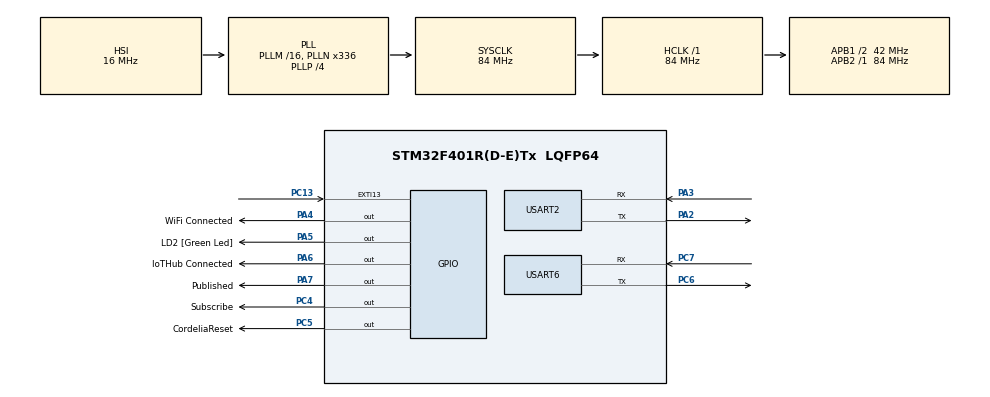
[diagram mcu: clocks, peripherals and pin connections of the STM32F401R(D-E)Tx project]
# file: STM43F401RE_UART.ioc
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Mcu.Family=STM32F4
Mcu.Name=STM32F401R(D-E)Tx
Mcu.Package=LQFP64
Mcu.UserConstants=T4_PRE,7199;T4_CNT,4999
NVIC.EXTI15_10_IRQn=true\:0\:0\:false\:false\:true\:true\:true\:true
NVIC.PriorityGroup=NVIC_PRIORITYGROUP_0
NVIC.TIM4_IRQn=true\:0\:0\:false\:false\:true\:true\:true\:true
NVIC.USART2_IRQn=true\:0\:0\:false\:false\:true\:true\:true\:true
NVIC.USART6_IRQn=true\:0\:0\:false\:false\:true\:true\:true\:true
PA13.GPIO_Label=TMS
PA13.Mode=Serial_Wire
PA13.Signal=SYS_JTMS-SWDIO
PA14.GPIO_Label=TCK
PA14.Mode=Serial_Wire
PA14.Signal=SYS_JTCK-SWCLK
PA2.GPIO_Mode=GPIO_MODE_AF_PP
PA2.GPIO_ModeDefaultPP=GPIO_MODE_AF_PP
PA2.GPIO_PuPd=GPIO_NOPULL
PA2.GPIO_Speed=GPIO_SPEED_FREQ_VERY_HIGH
PA2.Mode=Asynchronous
PA2.Signal=USART2_TX
PA3.GPIO_Mode=GPIO_MODE_AF_PP
PA3.GPIO_ModeDefaultPP=GPIO_MODE_AF_PP
PA3.GPIO_PuPd=GPIO_NOPULL
PA3.GPIO_Speed=GPIO_SPEED_FREQ_VERY_HIGH
PA3.Mode=Asynchronous
PA3.Signal=USART2_RX
PA4.GPIO_Label=WiFi Connected
PA4.Signal=GPIO_Output
PA5.GPIO_Label=LD2 [Green Led]
PA5.GPIO_Mode=GPIO_MODE_OUTPUT_PP
PA5.GPIO_PuPd=GPIO_NOPULL
PA5.GPIO_Speed=GPIO_SPEED_FREQ_LOW
PA5.Signal=GPIO_Output
PA6.GPIO_Label=IoTHub Connected
PA6.Signal=GPIO_Output
PA7.GPIO_Label=Published
PA7.Signal=GPIO_Output
PB3.GPIO_Label=SWO
PB3.Signal=SYS_JTDO-SWO
PC13-ANTI_TAMP.Signal=GPXTI13
PC14-OSC32_IN.Mode=LSE-External-Oscillator
PC14-OSC32_IN.Signal=RCC_OSC32_IN
PC15-OSC32_OUT.Mode=LSE-External-Oscillator
PC15-OSC32_OUT.Signal=RCC_OSC32_OUT
PC4.GPIO_Label=Subscribe
PC4.Signal=GPIO_Output
PC5.GPIO_Label=CordeliaReset
PC5.Signal=GPIO_Output
PC6.Mode=Asynchronous
PC6.Signal=USART6_TX
PC7.Mode=Asynchronous
PC7.Signal=USART6_RX
PH0\ -\ OSC_IN.Mode=HSE-External-Clock-Source
PH0\ -\ OSC_IN.Signal=RCC_OSC_IN
PH1\ -\ OSC_OUT.Mode=HSE-External-Clock-Source
PH1\ -\ OSC_OUT.Signal=RCC_OSC_OUT
ProjectManager.HeapSize=0x200
ProjectManager.StackSize=0x400
ProjectManager.TargetToolchain=STM32CubeIDE
RCC.48MHZClocksFreq_Value=48000000
RCC.AHBFreq_Value=84000000
RCC.APB1CLKDivider=RCC_HCLK_DIV2
RCC.APB1Freq_Value=42000000
RCC.APB1TimFreq_Value=84000000
RCC.APB2Freq_Value=84000000
RCC.APB2TimFreq_Value=84000000
RCC.CortexFreq_Value=84000000
RCC.HCLKFreq_Value=84000000
RCC.HSE_VALUE=8000000
RCC.HSI_VALUE=16000000
RCC.PLLN=336
RCC.PLLP=RCC_PLLP_DIV4
RCC.PLLQ=7
RCC.SYSCLKFreq_VALUE=84000000
RCC.SYSCLKSource=RCC_SYSCLKSOURCE_PLLCLK
RCC.VCOOutputFreq_Value=336000000
TIM4.Period=T4_CNT
TIM4.Prescaler=T4_PRE
USART2.VirtualMode=VM_ASYNC
USART6.VirtualMode=VM_ASYNC
VP_TIM4_VS_ClockSourceINT.Mode=Internal
board=NUCLEO-F401RE

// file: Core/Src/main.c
/* USER CODE BEGIN Header */
/**
  ******************************************************************************
  * @file           : main.c
  * @brief          : Main program body
  ******************************************************************************
  * @attention
  *
  * Copyright (c) 2024 STMicroelectronics.
  * All rights reserved.
  *
  * This software is licensed under terms that can be found in the LICENSE file
  * in the root directory of this software component.
  * If no LICENSE file comes with this software, it is provided AS-IS.
  *
  ******************************************************************************
  */
/* USER CODE END Header */
#include "main.h"

/* USER CODE BEGIN Includes */
#include "string.h"
#include "stdio.h"
#include "CQ_AT_Cmds.h"
#include "CQ_Led.h"
#include "CQ_Debug.h"

/* USER CODE END Includes */

TIM_HandleTypeDef htim4;

UART_HandleTypeDef huart2;
UART_HandleTypeDef huart6;

/* USER CODE BEGIN PV */
#define PUTCHAR_PROTOTYPE int __io_putchar(int ch) // redirect Printf to USB port
UART_HandleTypeDef huart2;
UART_HandleTypeDef huart6;

uint8_t rx_data;
char tx_buffer[BUFFERSIZE];
TIM_HandleTypeDef htim4;
uint8_t rx_data; // RAW UART data is put here
char rx_buffer[BUFFERSIZE];
int rx_indx;
/* USER CODE END PV */

void SystemClock_Config(void);
static void MX_GPIO_Init(void);
static void MX_USART2_UART_Init(void);
static void MX_USART6_UART_Init(void);
static void MX_TIM4_Init(void);

/* USER CODE BEGIN 0 */

// Override the weak call back function
void HAL_TIM_PeriodElapsedCallback(TIM_HandleTypeDef *htim) {
      if (htim->Instance == TIM4) {
    	  // Handle PUBLED
    	          if (ledPubControl.state == FLASHLED) {
    	              HAL_GPIO_TogglePin(Published_GPIO_Port, Published_Pin);
    	              ledPubControl.counter++;
    	              if (ledPubControl.counter >= MAX_CYCLES) {
    	            	  ledPubControl.state = IDLELED;
    	            	  HAL_GPIO_WritePin(Published_GPIO_Port, Published_Pin, GPIO_PIN_RESET);  // Turn off PUB LED
    	              }
    	          }

    	          // Handle SUBLED
    	          if (ledSubControl.state == FLASHLED) {
    	              HAL_GPIO_TogglePin(Subscribe_GPIO_Port, Subscribe_Pin);
    	              ledSubControl.counter++;
    	              if (ledSubControl.counter >= MAX_CYCLES) {
    	            	  ledSubControl.state = IDLELED;
    	            	  HAL_GPIO_WritePin(Subscribe_GPIO_Port, Subscribe_Pin, GPIO_PIN_RESET);  // Turn off SUB LED
    	              }
    	          }
      }
}

/* USER CODE END 0 */

int main(void)
{

  /* MCU Configuration--------------------------------------------------------*/

  /* Reset of all peripherals, Initializes the Flash interface and the Systick. */
  HAL_Init();

  /* Configure the system clock */
  SystemClock_Config();

  /* Initialize all configured peripherals */
  MX_GPIO_Init();
  MX_USART2_UART_Init();
  MX_USART6_UART_Init();
  MX_TIM4_Init();
  /* USER CODE BEGIN 2 */
  HAL_UART_Receive_IT(&huart6, &rx_data, 1);

  // Fire up the timer used to toggle the LEDs
  HAL_TIM_Base_Start_IT(&htim4);

  /* USER CODE END 2 */

  /* Infinite loop */
  /* USER CODE BEGIN WHILE */

  // issue a HW reset of Cordelia at STM boot to ensure a known start up place.
  	HAL_GPIO_WritePin(CordeliaReset_GPIO_Port, CordeliaReset_Pin, GPIO_PIN_RESET);
  	HAL_Delay(200); //200ms should be enough
  	HAL_GPIO_WritePin(CordeliaReset_GPIO_Port, CordeliaReset_Pin, GPIO_PIN_SET);

  	HAL_Delay(200); // short start up delay to allow Cordelia to boot

  	DEBUG_STARTUP("**************************************************\r\n");
  	DEBUG_STARTUP("*                                                *\r\n");
  	DEBUG_STARTUP("* Welcome to Crypto Quantique's Secure           *\r\n");
  	DEBUG_STARTUP("* Wurth Cordelia-I & STM32 AT Host example       *\r\n");
  	DEBUG_STARTUP("*                                                *\r\n");
  	DEBUG_STARTUP("* Version 1.0.0, (c) Crypto Quantique Aug 2024   *\r\n");
  	DEBUG_STARTUP("*                                                *\r\n");
  	DEBUG_STARTUP("**************************************************\r\n");

	while (1)
  {

    /* USER CODE END WHILE */

  }
}

void SystemClock_Config(void)
{
  RCC_OscInitTypeDef RCC_OscInitStruct = {0};
  RCC_ClkInitTypeDef RCC_ClkInitStruct = {0};

  /** Configure the main internal regulator output voltage
  */
  __HAL_RCC_PWR_CLK_ENABLE();
  __HAL_PWR_VOLTAGESCALING_CONFIG(PWR_REGULATOR_VOLTAGE_SCALE2);

  /** Initializes the RCC Oscillators according to the specified parameters
  * in the RCC_OscInitTypeDef structure.
  */
  RCC_OscInitStruct.OscillatorType = RCC_OSCILLATORTYPE_HSI;
  RCC_OscInitStruct.HSIState = RCC_HSI_ON;
  RCC_OscInitStruct.HSICalibrationValue = RCC_HSICALIBRATION_DEFAULT;
  RCC_OscInitStruct.PLL.PLLState = RCC_PLL_ON;
  RCC_OscInitStruct.PLL.PLLSource = RCC_PLLSOURCE_HSI;
  RCC_OscInitStruct.PLL.PLLM = 16;
  RCC_OscInitStruct.PLL.PLLN = 336;
  RCC_OscInitStruct.PLL.PLLP = RCC_PLLP_DIV4;
  RCC_OscInitStruct.PLL.PLLQ = 7;
  if (HAL_RCC_OscConfig(&RCC_OscInitStruct) != HAL_OK)
  {
    Error_Handler();
  }

  /** Initializes the CPU, AHB and APB buses clocks
  */
  RCC_ClkInitStruct.ClockType = RCC_CLOCKTYPE_HCLK|RCC_CLOCKTYPE_SYSCLK
                              |RCC_CLOCKTYPE_PCLK1|RCC_CLOCKTYPE_PCLK2;
  RCC_ClkInitStruct.SYSCLKSource = RCC_SYSCLKSOURCE_PLLCLK;
  RCC_ClkInitStruct.AHBCLKDivider = RCC_SYSCLK_DIV1;
  RCC_ClkInitStruct.APB1CLKDivider = RCC_HCLK_DIV2;
  RCC_ClkInitStruct.APB2CLKDivider = RCC_HCLK_DIV1;

  if (HAL_RCC_ClockConfig(&RCC_ClkInitStruct, FLASH_LATENCY_2) != HAL_OK)
  {
    Error_Handler();
  }
}

static void MX_TIM4_Init(void)
{

  TIM_ClockConfigTypeDef sClockSourceConfig = {0};
  TIM_MasterConfigTypeDef sMasterConfig = {0};

  htim4.Instance = TIM4;
  htim4.Init.Prescaler = T4_PRE;
  htim4.Init.CounterMode = TIM_COUNTERMODE_UP;
  htim4.Init.Period = T4_CNT;
  htim4.Init.ClockDivision = TIM_CLOCKDIVISION_DIV1;
  htim4.Init.AutoReloadPreload = TIM_AUTORELOAD_PRELOAD_DISABLE;
  if (HAL_TIM_Base_Init(&htim4) != HAL_OK)
  {
    Error_Handler();
  }
  sClockSourceConfig.ClockSource = TIM_CLOCKSOURCE_INTERNAL;
  if (HAL_TIM_ConfigClockSource(&htim4, &sClockSourceConfig) != HAL_OK)
  {
    Error_Handler();
  }
  sMasterConfig.MasterOutputTrigger = TIM_TRGO_RESET;
  sMasterConfig.MasterSlaveMode = TIM_MASTERSLAVEMODE_DISABLE;
  if (HAL_TIMEx_MasterConfigSynchronization(&htim4, &sMasterConfig) != HAL_OK)
  {
    Error_Handler();
  }

}

static void MX_USART2_UART_Init(void)
{

  huart2.Instance = USART2;
  huart2.Init.BaudRate = 115200;
  huart2.Init.WordLength = UART_WORDLENGTH_8B;
  huart2.Init.StopBits = UART_STOPBITS_1;
  huart2.Init.Parity = UART_PARITY_NONE;
  huart2.Init.Mode = UART_MODE_TX_RX;
  huart2.Init.HwFlowCtl = UART_HWCONTROL_NONE;
  huart2.Init.OverSampling = UART_OVERSAMPLING_16;
  if (HAL_UART_Init(&huart2) != HAL_OK)
  {
    Error_Handler();
  }

}

static void MX_USART6_UART_Init(void)
{

  huart6.Instance = USART6;
  huart6.Init.BaudRate = 115200;
  huart6.Init.WordLength = UART_WORDLENGTH_8B;
  huart6.Init.StopBits = UART_STOPBITS_1;
  huart6.Init.Parity = UART_PARITY_NONE;
  huart6.Init.Mode = UART_MODE_TX_RX;
  huart6.Init.HwFlowCtl = UART_HWCONTROL_NONE;
  huart6.Init.OverSampling = UART_OVERSAMPLING_16;
  if (HAL_UART_Init(&huart6) != HAL_OK)
  {
    Error_Handler();
  }

}

static void MX_GPIO_Init(void)
{
  GPIO_InitTypeDef GPIO_InitStruct = {0};

  /* GPIO Ports Clock Enable */
  __HAL_RCC_GPIOC_CLK_ENABLE();
  __HAL_RCC_GPIOH_CLK_ENABLE();
  __HAL_RCC_GPIOA_CLK_ENABLE();
  __HAL_RCC_GPIOB_CLK_ENABLE();

  /*Configure GPIO pin Output Level */
  HAL_GPIO_WritePin(GPIOA, WiFi_Connected_Pin|LD2_Pin|IoTHub_Connected_Pin|Published_Pin, GPIO_PIN_RESET);

  /*Configure GPIO pin Output Level */
  HAL_GPIO_WritePin(GPIOC, Subscribe_Pin|CordeliaReset_Pin, GPIO_PIN_RESET);

  /*Configure GPIO pin : PC13 */
  GPIO_InitStruct.Pin = GPIO_PIN_13;
  GPIO_InitStruct.Mode = GPIO_MODE_IT_RISING;
  GPIO_InitStruct.Pull = GPIO_NOPULL;
  HAL_GPIO_Init(GPIOC, &GPIO_InitStruct);

  /*Configure GPIO pins : WiFi_Connected_Pin LD2_Pin IoTHub_Connected_Pin Published_Pin */
  GPIO_InitStruct.Pin = WiFi_Connected_Pin|LD2_Pin|IoTHub_Connected_Pin|Published_Pin;
  GPIO_InitStruct.Mode = GPIO_MODE_OUTPUT_PP;
  GPIO_InitStruct.Pull = GPIO_NOPULL;
  GPIO_InitStruct.Speed = GPIO_SPEED_FREQ_LOW;
  HAL_GPIO_Init(GPIOA, &GPIO_InitStruct);

  /*Configure GPIO pins : Subscribe_Pin CordeliaReset_Pin */
  GPIO_InitStruct.Pin = Subscribe_Pin|CordeliaReset_Pin;
  GPIO_InitStruct.Mode = GPIO_MODE_OUTPUT_PP;
  GPIO_InitStruct.Pull = GPIO_NOPULL;
  GPIO_InitStruct.Speed = GPIO_SPEED_FREQ_LOW;
  HAL_GPIO_Init(GPIOC, &GPIO_InitStruct);

  /* EXTI interrupt init*/
  HAL_NVIC_SetPriority(EXTI15_10_IRQn, 0, 0);
  HAL_NVIC_EnableIRQ(EXTI15_10_IRQn);

}

/* USER CODE BEGIN 4 */

// Function to parse and execute AT commands
void parseATCommand(const char *command) {
    char cmd[60];		// Assuming command string won't exceed 60 characters
    char params[60];	// Assuming parameters won't exceed 50 characters

    // Separate command and parameters
    sscanf(rx_buffer, "%s %s", cmd, params);

    // Find the command in the array and call its handler
    for (int i = 0; i < AT_RESPONSES_SIZE; i++) {
   	if (strstr(rx_buffer, commands[i].command)) {
            commands[i].handler(params);
            // clear the rx_buffer so we don't accidently trigger on old trash data once we're done with it.
            uint8_t j;
        	for (j=0; j<BUFFERSIZE; j++) {
        		rx_buffer[j] = 0;
        	}
        return;
        }
    }
}

/**
  * @brief  Rx Transfer completed callbacks.
  * @param  huart  Pointer to a UART_HandleTypeDef structure that contains
  *                the configuration information for the specified UART module.
  * @retval None
  */
void HAL_UART_RxCpltCallback(UART_HandleTypeDef *huart)
{
	if (rx_indx < BUFFERSIZE) {
		// HAL_UART_Transmit(&huart2, (uint8_t*)&rx_data, 1, 10); // echo the byte back to the STM32 debug UART
		rx_buffer[rx_indx] = rx_data;	//Put the received byte in the buffer and then increment rx_indx
				if (rx_buffer[rx_indx] == END_BYTE) {
			rx_indx = 0; 				//Reset the buffer pointer
			parseATCommand(rx_buffer);
		}
		else {
			rx_indx++;
 		}
	}
	HAL_UART_Receive_IT(&huart6, &rx_data,1);
}
/*
* @brief  EXTI line detection callbacks.
* @param  GPIO_Pin Specifies the pins connected EXTI line
* This is our INT button call back
* @retval None
*/
void HAL_GPIO_EXTI_Callback(uint16_t GPIO_Pin)
{
  if(GPIO_Pin == GPIO_PIN_13) { // if BN1 (blue user button)
	// check we are connected
    if (status.connected) {
    	char string3[] = "AT+iotpublish=0,\"Hello from button press\"\r\n";
     	HAL_UART_Transmit(&huart6, (uint8_t*)&string3, (strlen(string3)), 100);
     	// HAL_GPIO_TogglePin(Published_GPIO_Port, Published_Pin);
     	DEBUG_MAIN("%s",string3);
     	INFO_MAIN("MQTT Publish message sent\r\n");
    	// Fire up the timer used to toggle the LEDs
     	// HAL_TIM_Base_Start_IT(&htim4);
     	// currentState = TOGGLE_PUB;  // Set the state to toggle LED1 next
     	Start_PUBLED_Flashing();
    }
    // Device Revoked?
	if (!status.enroled) {
		INFO_MAIN("Device not enroled, attempting to re-enrol\r\n");
		// Lets try to re-enrol
		char string1[] = "AT+iotenrol\r\n";
		HAL_UART_Transmit(&huart6, (uint8_t*) &string1, (strlen(string1)), 100);
		DEBUG_MAIN("%s",string1);
	}
	// Not connected or revoked
    } else {
   	 DEBUG_MAIN("MQTT Publish failed - not connected\r\n");
    }

}

/**
  * @brief  Retargets the C library printf function to the USART.
  *   None
  * @retval None
  */
PUTCHAR_PROTOTYPE
{
  /* Place your implementation of fputc here */
  /* e.g. write a character to the USART1 and Loop until the end of transmission */
  HAL_UART_Transmit(&huart2, (uint8_t *)&ch, 1, 0xFFFF);

  return ch;
}

/* USER CODE END 4 */

void Error_Handler(void)
{
  __disable_irq();
  while (1)
  {
  }
}
